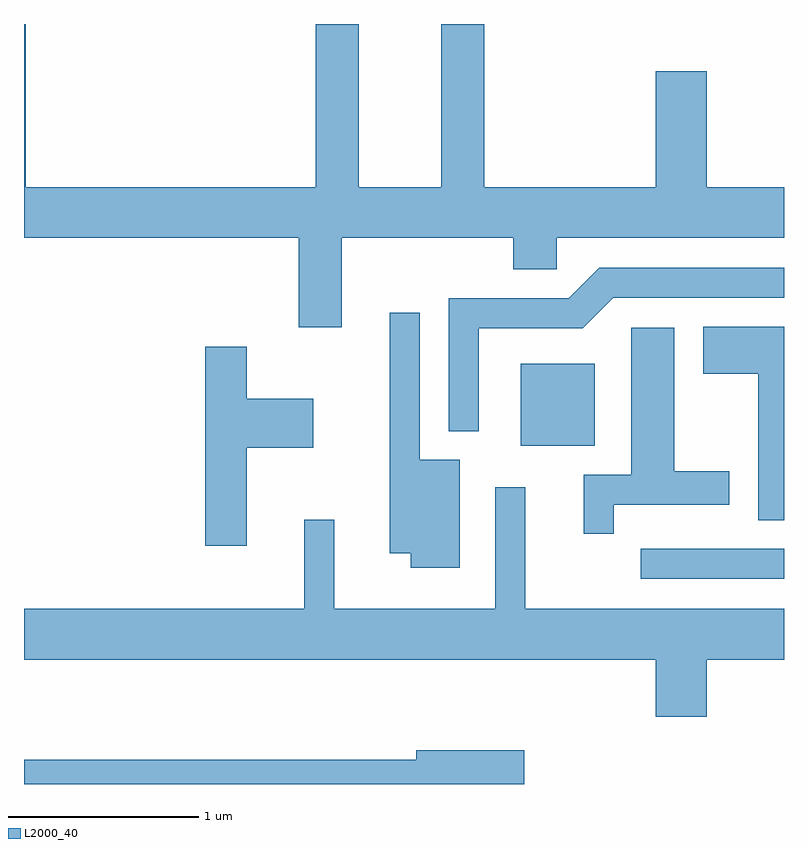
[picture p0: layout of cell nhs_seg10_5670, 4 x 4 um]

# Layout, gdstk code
import gdstk
lib = gdstk.Library(unit=1e-6, precision=1e-09)
def R(c, l, rs):  # rectangles x0, y0, x1, y1
    for r in rs: c.add(gdstk.rectangle(r[:2], r[2:], *l))
def P(c, l, *ps):  # polygons
    for p in ps: c.add(gdstk.Polygon(p, *l))
L2000_40 = (2000, 40)

nhs_seg10_5670 = lib.new_cell('nhs_seg10_5670')
R(nhs_seg10_5670, L2000_40, [(354.858,2187.601,355.611,2187.759), (354.226,2188.301,354.614,2188.734)])
P(nhs_seg10_5670, L2000_40, [(353.284,2189.396),(354.186,2189.396),(354.186,2189.231),(354.414,2189.231),(354.414,2189.396),(355.611,2189.396),(355.611,2189.664),(355.204,2189.664),(355.204,2190.274),(354.936,2190.274),(354.936,2189.664),(354.034,2189.664),(354.034,2190.522),(353.806,2190.522),(353.806,2189.664),(353.374,2189.664),(353.374,2190.522),(353.146,2190.522),(353.146,2189.664),(351.619,2189.664),(351.619,2190.522),(351.611,2190.522),(351.611,2189.396),(353.056,2189.396),(353.056,2188.926),(353.284,2188.926)],
  [(354.004,2188.921),(354.552,2188.921),(354.712,2189.081),(355.611,2189.081),(355.611,2189.239),(354.639,2189.239),(354.479,2189.079),(353.846,2189.079),(353.846,2188.378),(354.004,2188.378)],
  [(353.904,2188.229),(353.694,2188.229),(353.694,2189.003),(353.536,2189.003),(353.536,2187.736),(353.646,2187.736),(353.646,2187.661),(353.904,2187.661)],
  [(355.611,2188.929),(355.186,2188.929),(355.186,2188.681),(355.476,2188.681),(355.476,2187.911),(355.611,2187.911)],
  [(354.714,2187.991),(355.324,2187.991),(355.324,2188.169),(355.034,2188.169),(355.034,2188.924),(354.806,2188.924),(354.806,2188.149),(354.556,2188.149),(354.556,2187.838),(354.714,2187.838)],
  [(352.784,2188.291),(353.134,2188.291),(353.134,2188.549),(352.784,2188.549),(352.784,2188.824),(352.566,2188.824),(352.566,2187.776),(352.784,2187.776)],
  [(355.204,2187.176),(355.611,2187.176),(355.611,2187.444),(354.249,2187.444),(354.249,2188.083),(354.091,2188.083),(354.091,2187.444),(353.244,2187.444),(353.244,2187.913),(353.086,2187.913),(353.086,2187.444),(351.611,2187.444),(351.611,2187.176),(354.936,2187.176),(354.936,2186.876),(355.204,2186.876)],
  [(354.244,2186.699),(353.676,2186.699),(353.676,2186.649),(351.611,2186.649),(351.611,2186.522),(354.244,2186.522)])

lib.write_gds('nhs_seg10_5670.gds')
